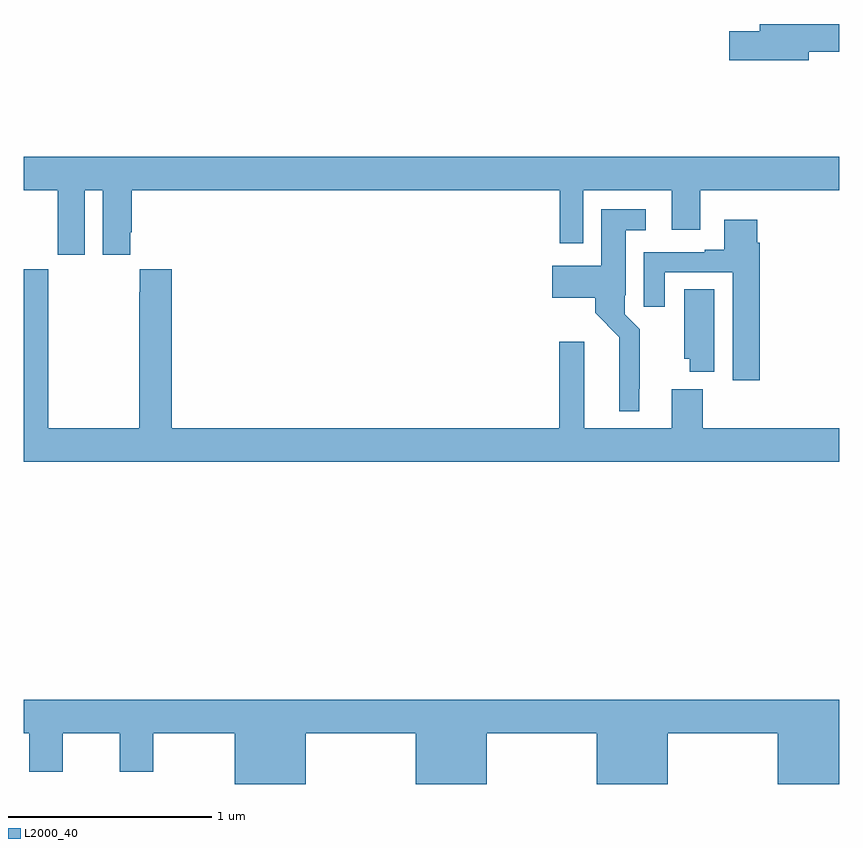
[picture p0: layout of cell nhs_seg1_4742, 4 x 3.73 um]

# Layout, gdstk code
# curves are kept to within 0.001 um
import gdstk
lib = gdstk.Library(unit=1e-6, precision=1e-09)
def P(c, l, *ps):  # polygons
    for p in ps: c.add(gdstk.Polygon(p, *l))
L2000_40 = (2000, 40)

nhs_seg1_4742 = lib.new_cell('nhs_seg1_4742')
P(nhs_seg1_4742, L2000_40, [(372.85,505.792),(373,505.792),(373,505.928),(372.611,505.928),(372.611,505.892),(372.462,505.892),(372.462,505.75),(372.85,505.75)],
  [(369.298,505.112),(369.386,505.112),(369.386,504.795),(369.523,504.795),(369.523,504.907),(369.53,504.907),(369.53,505.112),(371.629,505.112),(371.629,504.852),(371.745,504.852),(371.745,505.112),(372.179,505.112),(372.179,504.918),(372.319,504.918),(372.319,505.112),(373,505.112),(373,505.276),(369,505.276),(369,505.112),(369.167,505.112),(369.167,504.795),(369.298,504.795)],
  [(372.019,504.139),(372.023,504.139),(372.023,504.43),(371.949,504.504),(371.949,504.598),(371.953,504.598),(371.953,504.917),(372.052,504.917),(372.052,505.018),(371.834,505.018),(371.834,504.742),(371.592,504.742),(371.592,504.584),(371.804,504.584),(371.804,504.51),(371.922,504.392),(371.921,504.029),(372.019,504.029)],
  [(372.611,504.854),(372.598,504.854),(372.598,504.967),(372.437,504.967),(372.437,504.82),(372.341,504.82),(372.341,504.807),(372.041,504.807),(372.041,504.54),(372.145,504.54),(372.145,504.711),(372.479,504.711),(372.479,504.18),(372.611,504.18)],
  [(373,503.944),(372.332,503.944),(372.332,504.136),(372.179,504.136),(372.179,503.944),(371.749,503.944),(371.749,504.37),(371.627,504.37),(371.627,503.944),(369.725,503.944),(369.725,504.724),(369.569,504.724),(369.569,504.611),(369.565,504.611),(369.565,503.944),(369.12,503.944),(369.12,504.724),(369,504.724),(369,503.78),(373,503.78)],
  [(372.388,504.626),(372.239,504.626),(372.239,504.285),(372.266,504.285),(372.266,504.221),(372.388,504.221)],
  [(370.384,502.448),(370.922,502.448),(370.922,502.199),(371.272,502.199),(371.272,502.448),(371.81,502.448),(371.81,502.199),(372.16,502.199),(372.16,502.448),(372.698,502.448),(372.698,502.199),(373,502.199),(373,502.612),(369,502.612),(369,502.448),(369.026,502.448),(369.026,502.26),(369.19,502.26),(369.19,502.448),(369.47,502.448),(369.47,502.26),(369.634,502.26),(369.634,502.448),(370.034,502.448),(370.034,502.199),(370.384,502.199)])

lib.write_gds('nhs_seg1_4742.gds')
